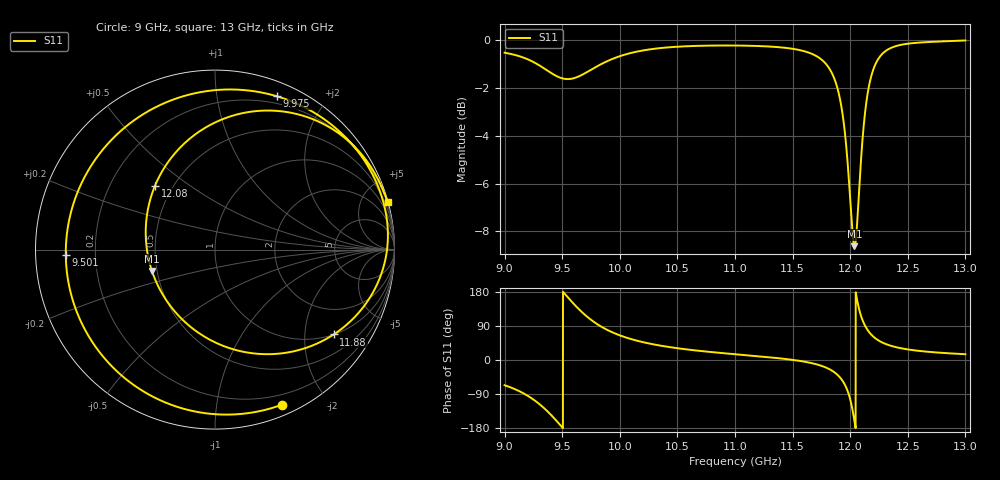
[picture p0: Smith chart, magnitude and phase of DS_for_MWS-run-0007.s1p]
! TOUCHSTONE file generated by CST DESIGN STUDIO
! Date and time: Tue Feb  4 14:27:48 2025
! Project name: C:\Work\MatlabApps\UnitCellOptimizationMatlab\CST\unitcell.cst
! Tree item: Tasks\Sweep1\SPara1\S-Parameters
! Header version: 2024
! Port assignment regex: !\s*Touchstone port\s*([0-9]+)\s*=\s*(CST MWS port|CST DES external port|CST DES block port)\s*(.+)\s* \(\"(.*)\"\)(\s*mode\s*([0-9]+))?.*
! Touchstone port assignment:
! Touchstone port 1 = CST DES external port 1 ("")
# GHz S MA R 50
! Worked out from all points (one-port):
!   4001 points, 9 GHz to 13 GHz, reference 50 ohm
!   lowest |S11| = -8.6 dB at 12.04 GHz (marker M1), VSWR 2.18, Z = 23.4 - j6.44 ohm
!   |S11| at or under -10 dB: nowhere
!   S11 on the Smith chart (normalised r, x): 9 GHz: 0.10, -1.52; 9.501 GHz: 0.09, -0.02; 9.975 GHz: 0.13, +1.48; 11.88 GHz: 1.00, -2.80; 12.08 GHz: 0.40, +0.37; 13 GHz: 0.04, +7.46
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9  0.9414 -66.5
9.17  0.9182 -89.0
9.285  0.8904 -112.2
9.385  0.8595 -139.3
9.5  0.8321 -177.6
9.501  0.8319 -177.9
9.59  0.8313 151.4
9.713  0.8568 115.1
9.824  0.8873 90.7
9.975  0.9212 68.0
10  0.9257 65.0
10.215  0.9528 46.1
10.5  0.9689 31.1
11  0.9744 15.3
11.5  0.9593 0.4
11.745  0.9131 -14.8
11.876  0.8132 -35.5
11.952  0.6469 -64.2
12  0.4639 -103.7
12.037  0.3709 -161.4
12.078  0.4879 133.3
12.11  0.6333 102.9
12.143  0.7503 82.9
12.192  0.8558 64.2
12.246  0.9153 51.5
12.348  0.9618 38.0
12.5  0.983 27.9
13  0.9985 15.3
